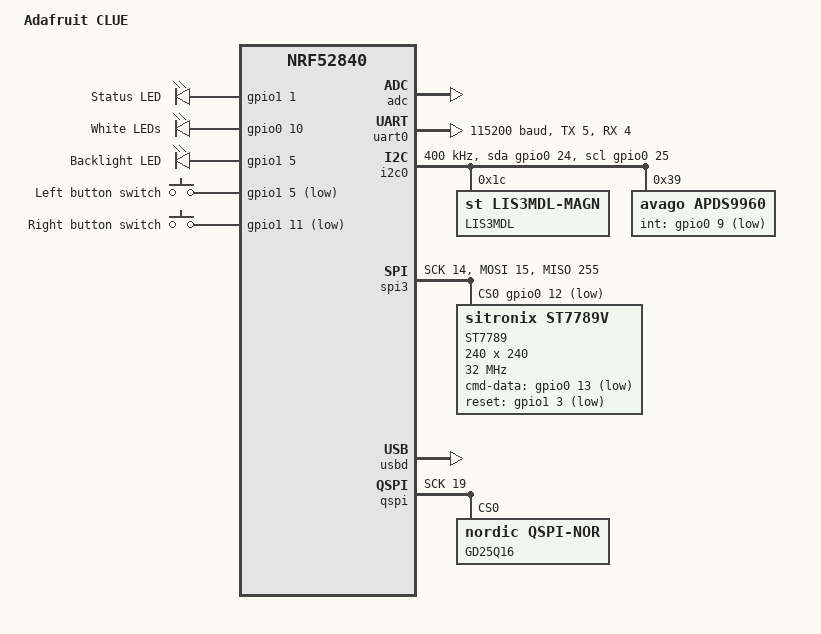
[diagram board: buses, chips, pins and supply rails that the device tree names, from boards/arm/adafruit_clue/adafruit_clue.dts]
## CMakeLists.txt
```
# SPDX-License-Identifier: Apache-2.0

cmake_minimum_required(VERSION 3.13.1)
find_package(Zephyr REQUIRED HINTS $ENV{ZEPHYR_BASE})
project(zephyr-on-adafruit-clue)

FILE(GLOB app_sources src/*.c)
target_sources(app PRIVATE ${app_sources})
```

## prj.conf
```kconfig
CONFIG_CBPRINTF_FP_SUPPORT=y

CONFIG_GPIO=y
CONFIG_SYSTEM_CLOCK_NO_WAIT=y

CONFIG_USB=y
CONFIG_USB_DEVICE_STACK=y
CONFIG_USB_DEVICE_PRODUCT="Zephyr Adafruit CLUE sample"
CONFIG_USB_UART_CONSOLE=y

CONFIG_UART_INTERRUPT_DRIVEN=y
CONFIG_UART_LINE_CTRL=y
CONFIG_UART_CONSOLE_ON_DEV_NAME="CDC_ACM_0"

CONFIG_SPI=y
CONFIG_DISPLAY=y
CONFIG_ST7789V=y

CONFIG_I2C=y
CONFIG_SENSOR=y
CONFIG_LIS3MDL=y
CONFIG_LIS3MDL_TRIGGER_NONE=y
CONFIG_APDS9960=y
CONFIG_APDS9960_TRIGGER_NONE=y
```

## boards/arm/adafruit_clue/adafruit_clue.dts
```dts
/*
 * Copyright (c) 2020 Tobias Svehagen
 *
 * SPDX-License-Identifier: Apache-2.0
 */

/dts-v1/;
#include <nordic/nrf52840_qiaa.dtsi>

/ {
	model = "Adafruit CLUE";
	compatible = "adafruit,feather-nrf52840";

	chosen {
		zephyr,console = &uart0;
		zephyr,shell-uart = &uart0;
		zephyr,uart-mcumgr = &uart0;
		zephyr,bt-mon-uart = &uart0;
		zephyr,bt-c2h-uart = &uart0;
		zephyr,sram = &sram0;
		zephyr,flash = &flash0;
		zephyr,code-partition = &slot0_partition;
	};

	leds {
		compatible = "gpio-leds";
		led0: led_0 {
			gpios = <&gpio1 1 0>;
			label = "Status LED";
		};
		led1: led_1 {
			gpios = <&gpio0 10 0>;
			label = "White LEDs";
		};
		backlight0: backlight_0 {
			gpios = <&gpio1 5 0>;
			label = "Backlight LED";
		};
	};

	buttons {
		compatible = "gpio-keys";
		button0: button_0 {
			gpios = <&gpio1 5 (GPIO_PULL_UP | GPIO_ACTIVE_LOW)>;
			label = "Left button switch";
		};
		button1: button_1 {
			gpios = <&gpio1 11 (GPIO_PULL_UP | GPIO_ACTIVE_LOW)>;
			label = "Right button switch";
		};
	};

	/* These aliases are provided for compatibility with samples */
	aliases {
		led0 = &led0;
		led1 = &led1;
		sw0 = &button0;
	};
};

&adc {
	status = "okay";
};

&gpiote {
	status = "okay";
};

&gpio0 {
	status = "okay";
};

&gpio1 {
	status = "okay";
};

&uart0 {
	compatible = "nordic,nrf-uart";
	current-speed = <115200>;
	status = "okay";
	tx-pin = <5>;
	rx-pin = <4>;
};

&i2c0 {
	compatible = "nordic,nrf-twim";
	status = "okay";
	clock-frequency = <I2C_BITRATE_FAST>;
	sda-gpios = <&gpio0 24 0>;
	scl-gpios = <&gpio0 25 0>;

	/* ST Microelectronics LIS3MDL magnetic field sensor */
	lis3mdl-magn@1c {
		compatible = "st,lis3mdl-magn";
		label = "LIS3MDL";
		reg = <0x1c>;
	};

	/* Avago APDS-9960 digital proximity, ambient light, RGB and gesture sensor */
	apds9960@39 {
		compatible = "avago,apds9960";
		reg = <0x39>;
		label = "APDS9960";
		int-gpios = <&gpio0 9 (GPIO_ACTIVE_LOW | GPIO_PULL_UP)>;
	};
};

&spi3 {
	compatible = "nordic,nrf-spim";
	status = "okay";
	sck-pin = <14>;
	mosi-pin = <15>;
	miso-pin = <0xFF>; /* Not connected */
	cs-gpios = <&gpio0 12 GPIO_ACTIVE_LOW>;

	/* Not tested, but it should be possible to use the hardware chip select functionality for the display.
	ss_pin = <12>;
	ss_active_high = 0;
	use_hw_ss = 1;
	*/

	st7789@0 {
		compatible = "sitronix,st7789v";
		label = "ST7789";
		spi-max-frequency = <32000000>;
		reg = <0>;
		cmd-data-gpios = <&gpio0 13 GPIO_ACTIVE_LOW>;	/* D9 */
		reset-gpios = <&gpio1 3 GPIO_ACTIVE_LOW>;
		width = <240>;
		height = <240>;
		x-offset = <80>; /* The st7789v is defined for a 320x240 display so we must offset the x position. */
		y-offset = <0>;
		vcom = <0x2b>;
		gctrl = <0x35>;
		vrhs = <0x0f>;
		vdvs = <0x20>;
		mdac = <0xA0>; /* Display orientation/rotation */
		gamma = <0x01>;
		colmod = <0x55>; /* Pixel format RGB 565 */
		lcm = <0x2c>;
		porch-param = [0c 0c 00 33 33];
		cmd2en-param = [5a 69 02 01];
		pwctrl1-param = [52 a1];
		pvgam-param = [D0 00 02 07 0B 1A 31 54 40 29 12 12 12 17];
		nvgam-param = [D0 00 02 07 05 15 2D 44 44 1C 18 16 1C 1D];
		ram-param = [00 F8];
		rgb-param = [CD 08 14];
	};
};

&usbd {
	compatible = "nordic,nrf-usbd";
	status = "okay";
};

/* Not tested, copy-pasted from adafruit_feather_nrf52840. */
&qspi {
	status = "okay";
	sck-pin = <19>;
	io-pins = <17>, <22>, <23>, <21>;
	csn-pins = <20>;
	gd25q16: gd25q16@0 {
		/* NOTE: Quad mode not supported as driver does not handle
		 * QE bit setting in SR2. Ref. GD25Q16C, Rev 3.0, p. 12.
		 */
		compatible = "nordic,qspi-nor";
		reg = <0>;
		writeoc = "pp2o";
		readoc = "read2io";
		sck-frequency = <16000000>;
		label = "GD25Q16";
		jedec-id = [c8 40 15];
		size = <16777216>;
		has-dpd;
		t-enter-dpd = <20000>;
		t-exit-dpd = <20000>;
	};
};

/* Not tested, copy-pasted from adafruit_feather_nrf52840. */
&flash0 {

	partitions {
		compatible = "fixed-partitions";
		#address-cells = <1>;
		#size-cells = <1>;

		boot_partition: partition@0 {
			label = "mcuboot";
			reg = <0x000000000 0x0000C000>;
		};
		slot0_partition: partition@c000 {
			label = "image-0";
			reg = <0x0000C000 0x00067000>;
		};
		slot1_partition: partition@73000 {
			label = "image-1";
			reg = <0x00073000 0x00067000>;
		};
		scratch_partition: partition@da000 {
			label = "image-scratch";
			reg = <0x000da000 0x0001e000>;
		};

		/*
		 * The flash starting at 0x000f8000 and ending at
		 * 0x000fffff is reserved for use by the application.
		 */

		/* Storage partition will be used by FCB/NFFS/NVS if enabled. */
		storage_partition: partition@f8000 {
			label = "storage";
			reg = <0x000f8000 0x00008000>;
		};
	};
};
```

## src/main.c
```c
/*
 * SPDX-License-Identifier: Apache-2.0
 */

#include <zephyr.h>
#include <device.h>
#include <devicetree.h>
#include <drivers/display.h>
#include <drivers/gpio.h>
#include <sys/printk.h>
#include <usb/usb_device.h>

#if DT_NODE_HAS_STATUS(DT_ALIAS(led0), okay)
#define LED_NODE   DT_ALIAS(led0)
#define LED_LABEL  DT_GPIO_LABEL(LED_NODE, gpios)
#define LED_PIN    DT_GPIO_PIN(LED_NODE, gpios)
#define LED_FLAGS  DT_GPIO_FLAGS(LED_NODE, gpios)
#else
#error "LED not defined :("
#endif

#if DT_NODE_HAS_STATUS(DT_NODELABEL(backlight0), okay)
#define BACKLIGHT_NODE   DT_NODELABEL(backlight0)
#define BACKLIGHT_LABEL  DT_GPIO_LABEL(BACKLIGHT_NODE, gpios)
#define BACKLIGHT_PIN    DT_GPIO_PIN(BACKLIGHT_NODE, gpios)
#define BACKLIGHT_FLAGS  DT_GPIO_FLAGS(BACKLIGHT_NODE, gpios)
#else
#error "Backlight not defined :("
#endif

#if DT_NODE_HAS_STATUS(DT_INST(0, sitronix_st7789v), okay)
#define DISPLAY_NODE        DT_INST(0, sitronix_st7789v)
#define DISPLAY_LABEL       DT_LABEL(DISPLAY_NODE)
#define DISPLAY_WIDTH       DT_PROP(DISPLAY_NODE, width)
#define DISPLAY_HEIGHT      DT_PROP(DISPLAY_NODE, height)
#define DISPLAY_PIXELFORMAT PIXEL_FORMAT_RGB_565 /* Determined by the 'colmod' property in the DTS. */
#else
#error "Display not defined :("
#endif

#if DISPLAY_PIXELFORMAT != PIXEL_FORMAT_RGB_565
#error "Code below assumes color format RGB 565"
#endif

enum {
	Color_Red = 0xF800,
	Color_Green = 0x03E0,
	Color_Blue = 0x001F,
	Color_White = 0xFFFF,
	Color_Black = 0x0000,
};
typedef uint16_t Color_t;

static Color_t _frameBuffer[DISPLAY_WIDTH*DISPLAY_HEIGHT];

static const struct display_buffer_descriptor _frameBufferDesc = {
	.buf_size = sizeof(_frameBuffer),
	.width = DISPLAY_WIDTH,
	.height = DISPLAY_HEIGHT,
	.pitch = DISPLAY_WIDTH,
};

static void _fill_rect(uint16_t x, uint16_t y, uint16_t width, uint16_t height, Color_t color)
{
	for (unsigned cy = y; cy < y + height; cy++) {
		for (unsigned cx = x; cx < x + width; cx++) {
			unsigned pos = (cy*DISPLAY_WIDTH + cx);
			_frameBuffer[pos] = color;
		}
	}
}

static void _update_display(const struct device *dev)
{
	display_write(dev, 0, 0, &_frameBufferDesc, _frameBuffer);
}

void main(void)
{
	const struct device *led_dev;
	const struct device *backlight_dev;
	const struct device *display_dev;
	int ret;

	if (usb_enable(NULL)) {
		return; /* usb_enable() failed */
	}

	led_dev = device_get_binding(LED_LABEL);
	if (led_dev == NULL) {
		printk("led not found\n");
		return;
	}

	backlight_dev = device_get_binding(BACKLIGHT_LABEL);
	if (led_dev == NULL) {
		printk("backlight not found\n");
		return;
	}

	display_dev = device_get_binding(DISPLAY_LABEL);
	if (display_dev == NULL) {
		printk("display not found\n");
		return;
	}

	ret = gpio_pin_configure(led_dev, LED_PIN, GPIO_OUTPUT_ACTIVE | LED_FLAGS);
	if (ret < 0) {
		return;
	}

	ret = gpio_pin_configure(backlight_dev, BACKLIGHT_PIN, GPIO_OUTPUT_ACTIVE | BACKLIGHT_FLAGS);
	if (ret < 0) {
		return;
	}

	/* Initialize the screen with some rectangles */
	_fill_rect(DISPLAY_WIDTH-50, 0, 50, 50, Color_Green); /* Top right */
	_fill_rect(0, DISPLAY_HEIGHT-50, 50, 50, Color_Red); /* Bottom left */
	_fill_rect(DISPLAY_WIDTH-50, DISPLAY_HEIGHT-50, 50, 50, Color_Blue); /* Bottom right */
	_update_display(display_dev);

	display_blanking_off(display_dev);
	gpio_pin_set(backlight_dev, BACKLIGHT_PIN, 1); /* Turn on backlight */

	bool led_on = false;
	while (1) {
		led_on = !led_on;
		gpio_pin_set(led_dev, LED_PIN, led_on);
		_fill_rect(0, 0, 50, 50, led_on ? Color_White : Color_Black);
		_update_display(display_dev);

		k_msleep(500);
	}
}
```
